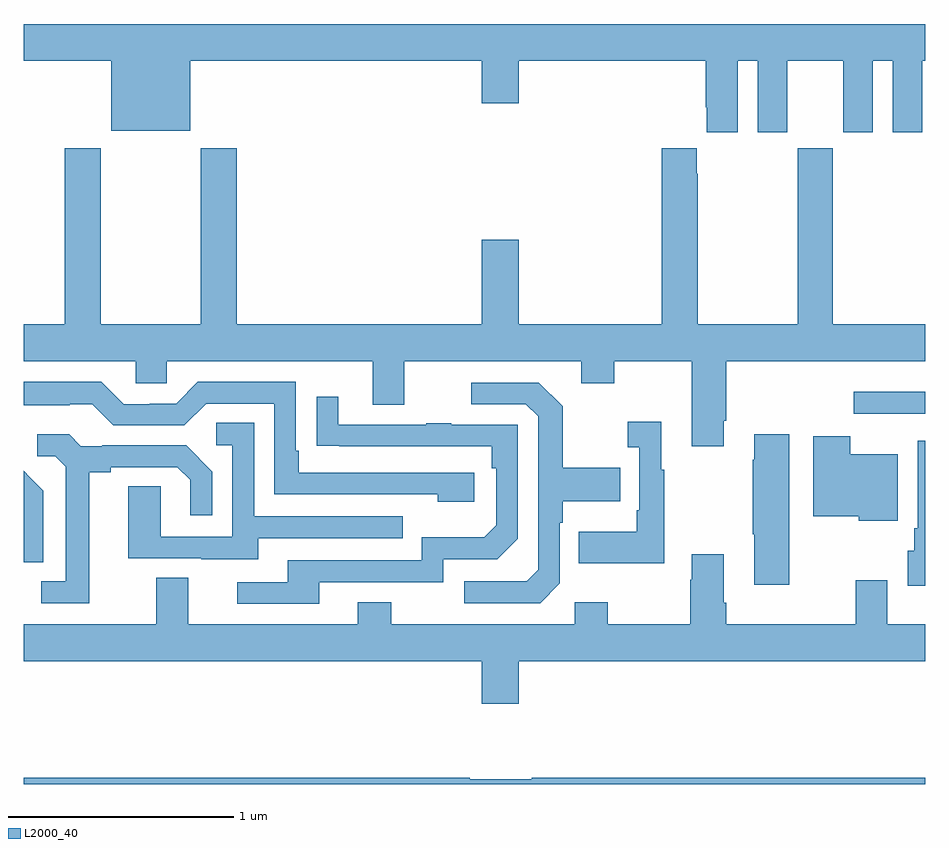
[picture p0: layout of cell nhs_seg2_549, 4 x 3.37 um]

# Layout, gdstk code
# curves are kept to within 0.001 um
import gdstk
lib = gdstk.Library(unit=1e-6, precision=1e-09)
def R(c, l, rs):  # rectangles x0, y0, x1, y1
    for r in rs: c.add(gdstk.rectangle(r[:2], r[2:], *l))
def P(c, l, *ps):  # polygons
    for p in ps: c.add(gdstk.Polygon(p, *l))
L2000_40 = (2000, 40)

nhs_seg2_549 = lib.new_cell('nhs_seg2_549')
R(nhs_seg2_549, L2000_40, [(142.683,607.443,143,607.54)])
P(nhs_seg2_549, L2000_40, [(142.168,609.008),(142.256,609.008),(142.256,608.691),(142.387,608.691),(142.387,609.008),(142.637,609.008),(142.637,608.691),(142.768,608.691),(142.768,609.008),(142.856,609.008),(142.856,608.691),(142.987,608.691),(142.987,609.008),(143,609.008),(143,609.172),(139,609.172),(139,609.008),(139.388,609.008),(139.388,608.699),(139.738,608.699),(139.738,609.008),(141.032,609.008),(141.032,608.82),(141.196,608.82),(141.196,609.008),(142.025,609.008),(142.025,608.803),(142.031,608.803),(142.031,608.691),(142.168,608.691)],
  [(142.105,607.411),(142.118,607.411),(142.118,607.676),(143,607.676),(143,607.84),(142.59,607.84),(142.59,608.62),(142.435,608.62),(142.435,607.84),(141.99,607.84),(141.99,608.507),(141.985,608.507),(141.985,608.62),(141.83,608.62),(141.83,607.84),(141.196,607.84),(141.196,608.215),(141.032,608.215),(141.032,607.84),(139.946,607.84),(139.946,608.62),(139.786,608.62),(139.786,607.84),(139.341,607.84),(139.341,608.62),(139.181,608.62),(139.181,607.84),(139,607.84),(139,607.676),(139.497,607.676),(139.497,607.578),(139.635,607.578),(139.635,607.676),(140.549,607.676),(140.549,607.482),(140.689,607.482),(140.689,607.676),(141.473,607.676),(141.473,607.577),(141.621,607.577),(141.621,607.676),(141.965,607.676),(141.965,607.299),(142.105,607.299)],
  [(140.998,607.182),(140.221,607.182),(140.221,607.279),(140.208,607.279),(140.208,607.584),(139.773,607.584),(139.677,607.488),(139.559,607.488),(139.559,607.485),(139.443,607.485),(139.343,607.585),(139,607.585),(139,607.481),(139.205,607.481),(139.205,607.485),(139.305,607.485),(139.398,607.392),(139.713,607.392),(139.809,607.488),(140.112,607.488),(140.112,607.086),(140.837,607.086),(140.837,607.052),(140.998,607.052)],
  [(141.378,606.69),(141.378,606.959),(141.391,606.959),(141.391,607.055),(141.647,607.055),(141.647,607.203),(141.391,607.203),(141.391,607.475),(141.285,607.581),(140.985,607.581),(140.985,607.485),(141.228,607.485),(141.282,607.431),(141.282,606.75),(141.231,606.699),(140.955,606.699),(140.955,606.603),(141.291,606.603)],
  [(140.311,606.696),(140.862,606.696),(140.862,606.798),(141.102,606.798),(141.192,606.888),(141.192,607.395),(140.897,607.395),(140.897,607.4),(140.785,607.4),(140.785,607.395),(140.395,607.395),(140.395,607.519),(140.299,607.519),(140.299,607.3),(141.076,607.299),(141.076,607.202),(141.096,607.202),(141.096,606.948),(141.043,606.895),(140.766,606.895),(140.766,606.792),(140.171,606.792),(140.171,606.696),(139.947,606.696),(139.947,606.6),(140.311,606.6)],
  [(141.841,607.195),(141.829,607.195),(141.829,607.408),(141.681,607.408),(141.681,607.295),(141.732,607.295),(141.732,607.015),(141.72,607.015),(141.72,606.919),(141.463,606.919),(141.463,606.779),(141.841,606.779)],
  [(140.041,606.891),(140.681,606.891),(140.681,606.987),(140.022,606.987),(140.022,607.403),(139.854,607.403),(139.854,607.302),(139.926,607.302),(139.926,606.897),(139.608,606.897),(139.608,607.121),(139.463,607.121),(139.463,606.801),(139.787,606.801),(139.787,606.797),(140.041,606.797)],
  [(142.396,607.351),(142.241,607.351),(142.241,607.238),(142.234,607.238),(142.234,606.907),(142.241,606.907),(142.241,606.684),(142.396,606.684)],
  [(139.291,607.184),(139.387,607.184),(139.387,607.206),(139.682,607.206),(139.739,607.149),(139.739,606.993),(139.836,606.993),(139.836,607.186),(139.72,607.302),(139.348,607.302),(139.348,607.299),(139.254,607.299),(139.202,607.351),(139.059,607.351),(139.059,607.254),(139.14,607.254),(139.187,607.207),(139.187,606.699),(139.077,606.699),(139.077,606.603),(139.291,606.603)],
  [(142.879,607.264),(142.668,607.264),(142.668,607.342),(142.502,607.342),(142.502,606.989),(142.704,606.989),(142.704,606.968),(142.879,606.968)],
  [(143,607.324),(142.967,607.324),(142.967,606.934),(142.952,606.934),(142.952,606.834),(142.922,606.834),(142.922,606.68),(143,606.68)],
  [(139.086,607.102),(139.013,607.175),(139.014,607.176),(139,607.19),(139,606.784),(139.086,606.784)],
  [(143,606.508),(142.831,606.508),(142.831,606.703),(142.691,606.703),(142.691,606.508),(142.118,606.508),(142.118,606.604),(142.105,606.604),(142.105,606.82),(141.965,606.82),(141.965,606.707),(141.958,606.707),(141.958,606.508),(141.591,606.508),(141.591,606.607),(141.444,606.607),(141.444,606.508),(140.631,606.508),(140.631,606.607),(140.483,606.607),(140.483,606.508),(139.729,606.508),(139.729,606.716),(139.589,606.716),(139.589,606.508),(139,606.508),(139,606.344),(141.032,606.344),(141.032,606.156),(141.196,606.156),(141.196,606.344),(143,606.344)],
  [(143,605.828),(141.254,605.828),(141.254,605.821),(140.98,605.821),(140.98,605.828),(139,605.828),(139,605.8),(143,605.8)])

lib.write_gds('nhs_seg2_549.gds')
